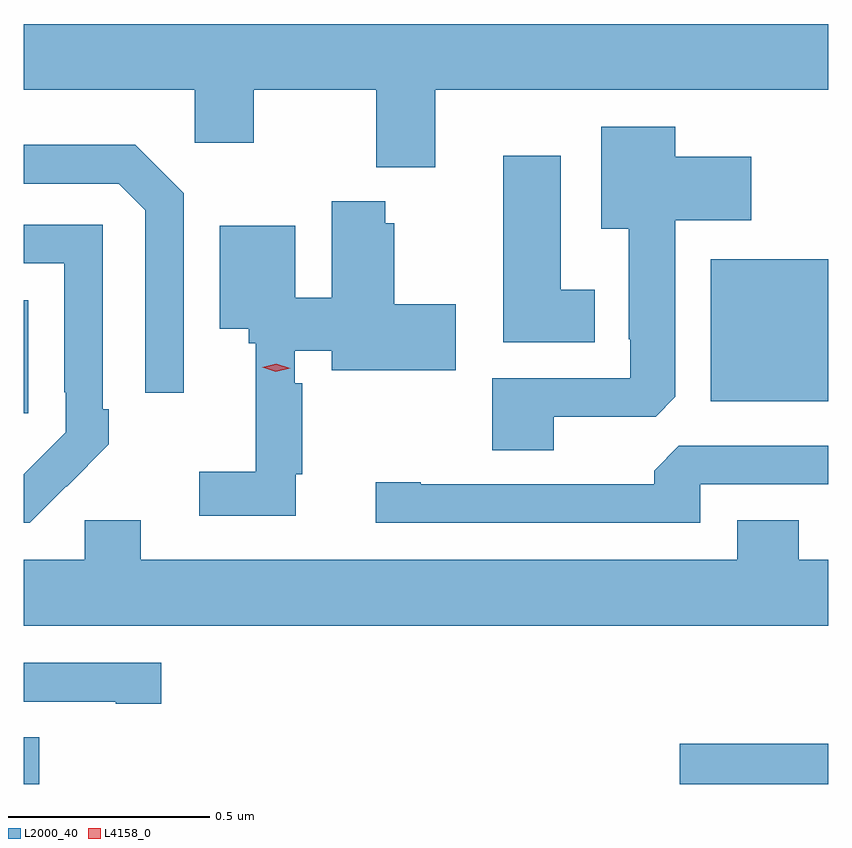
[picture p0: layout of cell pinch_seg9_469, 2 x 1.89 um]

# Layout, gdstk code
import gdstk
lib = gdstk.Library(unit=1e-6, precision=1e-09)
def R(c, l, rs):  # rectangles x0, y0, x1, y1
    for r in rs: c.add(gdstk.rectangle(r[:2], r[2:], *l))
def P(c, l, *ps):  # polygons
    for p in ps: c.add(gdstk.Polygon(p, *l))
L2000_40 = (2000, 40)
L4158_0 = (4158, 0)

pinch_seg9_469 = lib.new_cell('pinch_seg9_469')
R(pinch_seg9_469, L2000_40, [(161.485,1202.687,161.524,1202.803), (163.116,1202.687,163.485,1202.787), (161.485,1203.609,161.497,1203.889), (163.193,1203.638,163.485,1203.991)])
P(pinch_seg9_469, L2000_40, [(162.508,1204.412),(163.485,1204.412),(163.485,1204.576),(161.485,1204.576),(161.485,1204.412),(161.91,1204.412),(161.91,1204.281),(162.057,1204.281),(162.057,1204.412),(162.361,1204.412),(162.361,1204.22),(162.508,1204.22)],
  [(162.802,1203.6),(163.056,1203.6),(163.105,1203.649),(163.105,1204.088),(163.294,1204.088),(163.294,1204.246),(163.105,1204.246),(163.105,1204.321),(162.92,1204.321),(162.92,1204.067),(162.989,1204.067),(162.989,1203.793),(162.993,1203.793),(162.993,1203.696),(162.65,1203.696),(162.65,1203.517),(162.802,1203.517)],
  [(161.883,1204.155),(161.762,1204.276),(161.485,1204.276),(161.485,1204.179),(161.721,1204.179),(161.787,1204.113),(161.787,1203.66),(161.883,1203.66)],
  [(162.904,1203.916),(162.82,1203.916),(162.82,1204.249),(162.677,1204.249),(162.677,1203.785),(162.904,1203.785)],
  [(162.161,1203.457),(162.178,1203.457),(162.178,1203.683),(162.159,1203.683),(162.159,1203.764),(162.251,1203.764),(162.251,1203.716),(162.559,1203.716),(162.559,1203.879),(162.406,1203.879),(162.406,1204.081),(162.384,1204.081),(162.384,1204.135),(162.251,1204.135),(162.251,1203.896),(162.16,1203.896),(162.16,1204.075),(161.972,1204.075),(161.972,1203.818),(162.044,1203.818),(162.044,1203.783),(162.062,1203.783),(162.062,1203.463),(161.922,1203.463),(161.922,1203.354),(162.161,1203.354)],
  [(161.591,1203.427),(161.592,1203.426),(161.697,1203.531),(161.697,1203.619),(161.682,1203.619),(161.682,1204.077),(161.485,1204.077),(161.485,1203.981),(161.586,1203.981),(161.586,1203.661),(161.589,1203.661),(161.589,1203.561),(161.485,1203.457),(161.485,1203.336),(161.5,1203.336)],
  [(163.167,1203.432),(163.485,1203.432),(163.485,1203.528),(163.113,1203.528),(163.052,1203.466),(163.052,1203.432),(162.472,1203.432),(162.472,1203.437),(162.36,1203.437),(162.36,1203.336),(163.167,1203.336)],
  [(163.485,1203.244),(163.412,1203.244),(163.412,1203.343),(163.259,1203.343),(163.259,1203.244),(161.776,1203.244),(161.776,1203.342),(161.637,1203.342),(161.637,1203.244),(161.485,1203.244),(161.485,1203.08),(163.485,1203.08)],
  [(161.827,1202.988),(161.485,1202.988),(161.485,1202.892),(161.714,1202.892),(161.714,1202.887),(161.827,1202.887)])
P(pinch_seg9_469, L4158_0, [(162.112,1203.712),(162.078,1203.723),(162.078,1203.723),(162.078,1203.723),(162.113,1203.732),(162.148,1203.72),(162.148,1203.72),(162.148,1203.72)])

lib.write_gds('pinch_seg9_469.gds')
